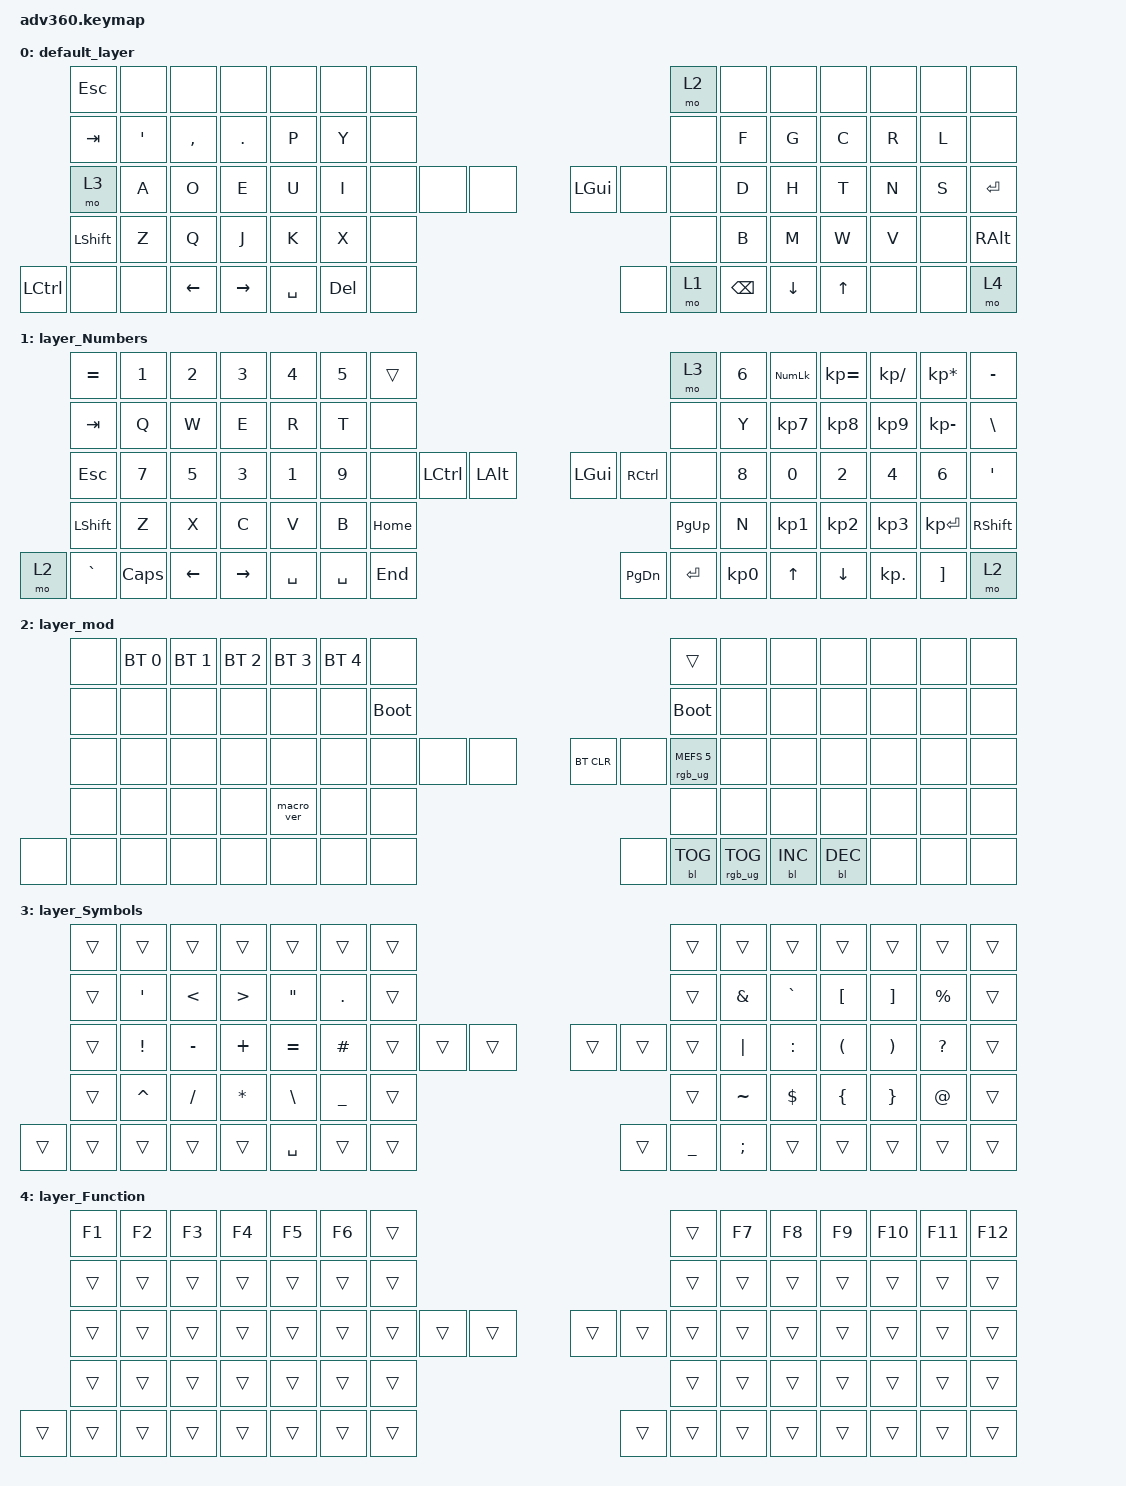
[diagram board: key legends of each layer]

/*
 * Copyright (c) 2020 The ZMK Contributors
 *
 * SPDX-License-Identifier: MIT
 */


/* THIS FILE WAS GENERATED!
 *
 * This file was generated automatically. You may or may not want to
 * edit it directly.
 */

#include <behaviors.dtsi>
#include <dt-bindings/zmk/keys.h>
#include <dt-bindings/zmk/bt.h>
#include <dt-bindings/zmk/rgb.h>
#include <dt-bindings/zmk/backlight.h>

/ {
  behaviors {
    #include "macros.dtsi"
    #include "version.dtsi"

    hm: homerow_mods {
        compatible = "zmk,behavior-hold-tap";
        label = "HOMEROW_MODS";
        #binding-cells = <2>;
        tapping-term-ms = <200>;
        quick_tap_ms = <175>;
        flavor = "tap-preferred";
        bindings = <&kp>, <&kp>;
    };
  };

    keymap {
        compatible = "zmk,keymap";


        default_layer {
            bindings = <
       &kp ESCAPE             &none      &none       &none            &none   &none                &none                                                                &mo 2   &none     &none   &none   &none   &none          &none
          &kp TAB  &kp SINGLE_QUOTE  &kp COMMA  &kp PERIOD            &kp P   &kp Y                &none                                                                &none   &kp F     &kp G   &kp C   &kp R   &kp L          &none
            &mo 3             &kp A      &kp O       &kp E            &kp U   &kp I                &none       &none   &none                  &kp LGUI   &none          &none   &kp D     &kp H   &kp T   &kp N   &kp S      &kp ENTER
        &kp LSHFT             &kp Z      &kp Q       &kp J            &kp K   &kp X                                    &none                     &none                          &kp B     &kp M   &kp W   &kp V   &none  &kp RIGHT_ALT
 &kp LEFT_CONTROL             &none      &none    &kp LEFT  &kp RIGHT_ARROW                    &kp SPACE  &kp DELETE   &none                     &none   &mo 1  &kp BACKSPACE          &kp DOWN  &kp UP   &none   &none          &mo 4
            >;
        };

        layer_Numbers {
            bindings = <
 &kp EQUAL        &kp N1    &kp N2    &kp N3     &kp N4  &kp N5               &trans                                                                 &mo 3  &kp N6  &kp KP_NUM  &kp KP_EQUAL  &kp KP_DIVIDE  &kp KP_MULTIPLY  &kp MINUS
   &kp TAB         &kp Q     &kp W     &kp E      &kp R   &kp T                &none                                                                 &none   &kp Y   &kp KP_N7     &kp KP_N8      &kp KP_N9     &kp KP_MINUS   &kp BSLH
   &kp ESC  &kp NUMBER_7    &kp N5    &kp N3     &kp N1  &kp N9                &none  &kp LCTRL  &kp LALT                   &kp LGUI  &kp RCTRL      &none  &kp N8      &kp N0        &kp N2         &kp N4           &kp N6    &kp SQT
 &kp LSHFT         &kp Z     &kp X     &kp C      &kp V   &kp B                                  &kp HOME                  &kp PG_UP                         &kp N   &kp KP_N1     &kp KP_N2      &kp KP_N3     &kp KP_ENTER  &kp RSHFT
     &mo 2     &kp GRAVE  &kp CAPS  &kp LEFT  &kp RIGHT                    &kp SPACE  &kp SPACE   &kp END                  &kp PG_DN  &kp ENTER  &kp KP_N0              &kp UP      &kp DOWN     &kp KP_DOT         &kp RBKT      &mo 2
            >;
        };

        layer_mod {
            bindings = <
  &none  &bt BT_SEL 0  &bt BT_SEL 1  &bt BT_SEL 2  &bt BT_SEL 3  &bt BT_SEL 4                  &none                                                                          &trans   &none       &none       &none   &none   &none   &none
  &none         &none         &none         &none         &none         &none            &bootloader                                                                     &bootloader   &none       &none       &none   &none   &none   &none
  &none         &none         &none         &none         &none         &none                  &none   &none   &none                  &bt BT_CLR       &none  &rgb_ug RGB_MEFS_CMD 5   &none       &none       &none   &none   &none   &none
  &none         &none         &none         &none    &macro_ver         &none                                  &none                       &none                                       &none       &none       &none   &none   &none   &none
  &none         &none         &none         &none         &none                                &none   &none   &none                       &none  &bl BL_TOG         &rgb_ug RGB_TOG          &bl BL_INC  &bl BL_DEC   &none   &none   &none
            >;
        };

        layer_Symbols {
            bindings = <
 &trans            &trans         &trans            &trans             &trans          &trans               &trans                                                                 &trans         &trans      &trans                &trans                 &trans        &trans  &trans
 &trans  &kp SINGLE_QUOTE  &kp LESS_THAN  &kp GREATER_THAN  &kp DOUBLE_QUOTES      &kp PERIOD               &trans                                                                 &trans  &kp AMPERSAND   &kp GRAVE      &kp LEFT_BRACKET      &kp RIGHT_BRACKET   &kp PERCENT  &trans
 &trans   &kp EXCLAMATION      &kp MINUS          &kp PLUS          &kp EQUAL        &kp HASH               &trans  &trans  &trans                  &trans          &trans         &trans       &kp PIPE   &kp COLON  &kp LEFT_PARENTHESIS  &kp RIGHT_PARENTHESIS  &kp QUESTION  &trans
 &trans         &kp CARET      &kp SLASH      &kp ASTERISK      &kp BACKSLASH  &kp UNDERSCORE                               &trans                  &trans                                     &kp TILDE  &kp DOLLAR        &kp LEFT_BRACE        &kp RIGHT_BRACE        &kp AT  &trans
 &trans            &trans         &trans            &trans             &trans                            &kp SPACE  &trans  &trans                  &trans  &kp UNDERSCORE  &kp SEMICOLON                     &trans                &trans                 &trans        &trans  &trans
            >;
        };

        layer_Function {
            bindings = <
 &kp F1  &kp F2  &kp F3  &kp F4  &kp F5  &kp F6            &trans                                                  &trans  &kp F7  &kp F8  &kp F9  &kp F10  &kp F11  &kp F12
 &trans  &trans  &trans  &trans  &trans  &trans            &trans                                                  &trans  &trans  &trans  &trans   &trans   &trans   &trans
 &trans  &trans  &trans  &trans  &trans  &trans            &trans  &trans  &trans                  &trans  &trans  &trans  &trans  &trans  &trans   &trans   &trans   &trans
 &trans  &trans  &trans  &trans  &trans  &trans                            &trans                  &trans                  &trans  &trans  &trans   &trans   &trans   &trans
 &trans  &trans  &trans  &trans  &trans                    &trans  &trans  &trans                  &trans  &trans  &trans          &trans  &trans   &trans   &trans   &trans
            >;
        };

    };
};
